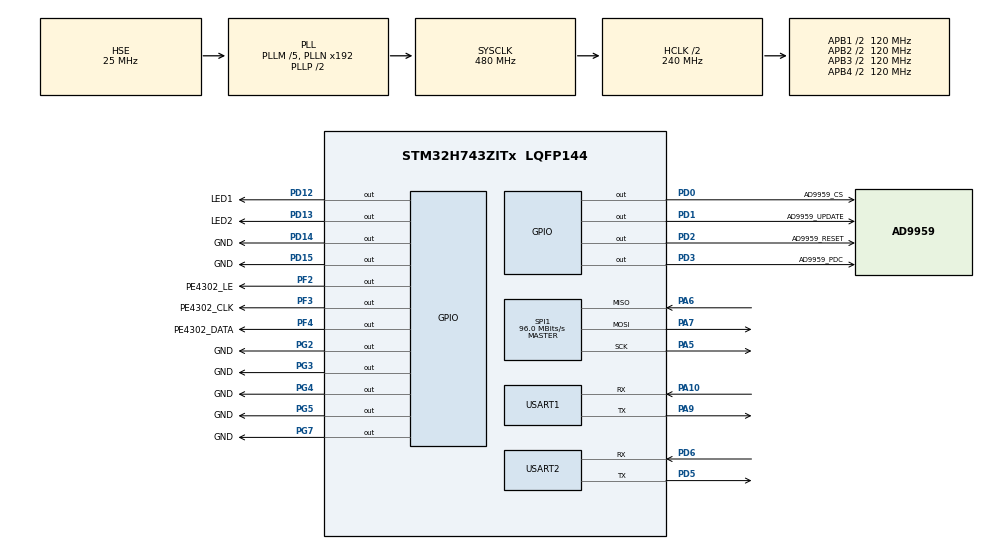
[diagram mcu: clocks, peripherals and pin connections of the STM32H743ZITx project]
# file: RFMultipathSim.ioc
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CORTEX_M7.default_mode_Activation=1
Mcu.Family=STM32H7
Mcu.Name=STM32H743ZITx
Mcu.Package=LQFP144
NVIC.PriorityGroup=NVIC_PRIORITYGROUP_4
PA10.Mode=Asynchronous
PA10.Signal=USART1_RX
PA13\ (JTMS/SWDIO).Mode=Serial_Wire
PA13\ (JTMS/SWDIO).Signal=DEBUG_JTMS-SWDIO
PA14\ (JTCK/SWCLK).Mode=Serial_Wire
PA14\ (JTCK/SWCLK).Signal=DEBUG_JTCK-SWCLK
PA5.GPIO_Speed=GPIO_SPEED_FREQ_HIGH
PA5.Mode=Full_Duplex_Master
PA5.Signal=SPI1_SCK
PA6.GPIO_Speed=GPIO_SPEED_FREQ_HIGH
PA6.Mode=Full_Duplex_Master
PA6.Signal=SPI1_MISO
PA7.GPIO_Speed=GPIO_SPEED_FREQ_HIGH
PA7.Mode=Full_Duplex_Master
PA7.Signal=SPI1_MOSI
PA9.Mode=Asynchronous
PA9.Signal=USART1_TX
PC14-OSC32_IN\ (OSC32_IN).Mode=LSE-External-Oscillator
PC14-OSC32_IN\ (OSC32_IN).Signal=RCC_OSC32_IN
PC15-OSC32_OUT\ (OSC32_OUT).Mode=LSE-External-Oscillator
PC15-OSC32_OUT\ (OSC32_OUT).Signal=RCC_OSC32_OUT
PD0.GPIO_Label=AD9959_CS
PD0.GPIO_OutputLevel=GPIO_PIN_SET
PD0.GPIO_PuPd=GPIO_PULLUP
PD0.GPIO_Speed=GPIO_SPEED_FREQ_HIGH
PD0.Signal=GPIO_Output
PD1.GPIO_Label=AD9959_UPDATE
PD1.GPIO_Speed=GPIO_SPEED_FREQ_HIGH
PD1.Signal=GPIO_Output
PD12.GPIO_Label=LED1
PD12.Signal=GPIO_Output
PD13.GPIO_Label=LED2
PD13.Signal=GPIO_Output
PD14.GPIO_Label=GND
PD14.GPIO_PuPd=GPIO_PULLDOWN
PD14.Signal=GPIO_Output
PD15.GPIO_Label=GND
PD15.GPIO_PuPd=GPIO_PULLDOWN
PD15.Signal=GPIO_Output
PD2.GPIO_Label=AD9959_RESET
PD2.GPIO_Speed=GPIO_SPEED_FREQ_HIGH
PD2.Signal=GPIO_Output
PD3.GPIO_Label=AD9959_PDC
PD3.GPIO_Speed=GPIO_SPEED_FREQ_HIGH
PD3.Signal=GPIO_Output
PD5.Mode=Asynchronous
PD5.Signal=USART2_TX
PD6.Mode=Asynchronous
PD6.Signal=USART2_RX
PF2.GPIO_Label=PE4302_LE
PF2.Signal=GPIO_Output
PF3.GPIO_Label=PE4302_CLK
PF3.Signal=GPIO_Output
PF4.GPIO_Label=PE4302_DATA
PF4.Signal=GPIO_Output
PG2.GPIO_Label=GND
PG2.GPIO_ModeDefaultOutputPP=GPIO_MODE_OUTPUT_PP
PG2.GPIO_PuPd=GPIO_PULLDOWN
PG2.GPIO_Speed=GPIO_SPEED_FREQ_LOW
PG2.PinState=GPIO_PIN_RESET
PG2.Signal=GPIO_Output
PG3.GPIO_Label=GND
PG3.GPIO_ModeDefaultOutputPP=GPIO_MODE_OUTPUT_PP
PG3.GPIO_PuPd=GPIO_PULLDOWN
PG3.GPIO_Speed=GPIO_SPEED_FREQ_LOW
PG3.PinState=GPIO_PIN_RESET
PG3.Signal=GPIO_Output
PG4.GPIO_Label=GND
PG4.GPIO_ModeDefaultOutputPP=GPIO_MODE_OUTPUT_PP
PG4.GPIO_PuPd=GPIO_PULLDOWN
PG4.GPIO_Speed=GPIO_SPEED_FREQ_LOW
PG4.PinState=GPIO_PIN_RESET
PG4.Signal=GPIO_Output
PG5.GPIO_Label=GND
PG5.GPIO_ModeDefaultOutputPP=GPIO_MODE_OUTPUT_PP
PG5.GPIO_PuPd=GPIO_PULLDOWN
PG5.GPIO_Speed=GPIO_SPEED_FREQ_LOW
PG5.PinState=GPIO_PIN_RESET
PG5.Signal=GPIO_Output
PG7.GPIO_Label=GND
PG7.GPIO_ModeDefaultOutputPP=GPIO_MODE_OUTPUT_PP
PG7.GPIO_PuPd=GPIO_PULLDOWN
PG7.GPIO_Speed=GPIO_SPEED_FREQ_LOW
PG7.PinState=GPIO_PIN_RESET
PG7.Signal=GPIO_Output
PH0-OSC_IN\ (PH0).Mode=HSE-External-Oscillator
PH0-OSC_IN\ (PH0).Signal=RCC_OSC_IN
PH1-OSC_OUT\ (PH1).Mode=HSE-External-Oscillator
PH1-OSC_OUT\ (PH1).Signal=RCC_OSC_OUT
ProjectManager.HeapSize=0x200
ProjectManager.StackSize=0x400
ProjectManager.TargetToolchain=CMake
RCC.ADCFreq_Value=14367816.09195402
RCC.APB1Freq_Value=120000000
RCC.APB2Freq_Value=120000000
RCC.APB3Freq_Value=120000000
RCC.APB4Freq_Value=120000000
RCC.CortexFreq_Value=480000000
RCC.D1PPRE=RCC_APB3_DIV2
RCC.D2PPRE1=RCC_APB1_DIV2
RCC.D2PPRE2=RCC_APB2_DIV2
RCC.D3PPRE=RCC_APB4_DIV2
RCC.DIVM1=5
RCC.DIVM2=6
RCC.DIVN1=192
RCC.DIVN2=200
RCC.DIVP2=58
RCC.DIVQ1=5
RCC.HCLKFreq_Value=240000000
RCC.HPRE=RCC_HCLK_DIV2
RCC.HSE_VALUE=25000000
RCC.PLL2FRACN=0
RCC.PLL3FRACN=0
RCC.PLLFRACN=0
RCC.PLLSourceVirtual=RCC_PLLSOURCE_HSE
RCC.SYSCLKFreq_VALUE=480000000
RCC.SYSCLKSource=RCC_SYSCLKSOURCE_PLLCLK
RCC.USBFreq_Value=192000000
SPI1.BaudRatePrescaler=SPI_BAUDRATEPRESCALER_2
SPI1.CalculateBaudRate=96.0 MBits/s
SPI1.DataSize=SPI_DATASIZE_8BIT
SPI1.Direction=SPI_DIRECTION_2LINES
SPI1.MasterKeepIOState=SPI_MASTER_KEEP_IO_STATE_ENABLE
SPI1.Mode=SPI_MODE_MASTER
SPI1.NSSPMode=SPI_NSS_PULSE_DISABLE
SPI1.VirtualType=VM_MASTER
USART1.VirtualMode-Asynchronous=VM_ASYNC
USART2.VirtualMode-Asynchronous=VM_ASYNC
VP_MEMORYMAP_VS_MEMORYMAP.Mode=CurAppReg
board=custom

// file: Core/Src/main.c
/* USER CODE BEGIN Header */
/**
  ******************************************************************************
  * @file           : main.c
  * @brief          : Main program body
  ******************************************************************************
  * @attention
  *
  * Copyright (c) 2026 STMicroelectronics.
  * All rights reserved.
  *
  * This software is licensed under terms that can be found in the LICENSE file
  * in the root directory of this software component.
  * If no LICENSE file comes with this software, it is provided AS-IS.
  *
  ******************************************************************************
  */
/* USER CODE END Header */
#include "main.h"
#include "spi.h"
#include "usart.h"
#include "gpio.h"

/* USER CODE BEGIN Includes */
#include "ad9959.h"
#include "dds_calibration.h"
#include "pe4302.h"
#include "serial_debug.h"
#include "tjcHMI.h"
#include <stdio.h>

/* USER CODE END Includes */

/* USER CODE BEGIN PD */
#define AD9959_REFERENCE_CLOCK_HZ   25000500U
#define AD9959_PLL_MULTIPLIER       19U
#define AD9959_TEST_FREQUENCY_HZ    35000000U
#define AD9959_STARTUP_RMS_MV       500U
#define TJC_HMI_STARTUP_DELAY_MS    10U
#define TJC_HMI_READ_TIMEOUT_MS     30U
#define TJC_HMI_READ_RETRY_COUNT    3U
//test 推送

/* USER CODE END PD */

/* USER CODE BEGIN PV */
static AD9959_Handler g_ad9959;
static PE4302_Handler g_pe4302;
static uint16_t g_direct_amplitude_code;
static TJC_HMI_Settings g_tjc_settings;

/* USER CODE END PV */

void SystemClock_Config(void);
static void MPU_Config(void);

/* USER CODE BEGIN 0 */
/**
  * @brief  Initializes the AD9959 and enables the CH0 test output.
  */
static void RFMultipathSim_AD9959_Init(void) {
    HAL_GPIO_WritePin(AD9959_PDC_GPIO_Port, AD9959_PDC_Pin, GPIO_PIN_RESET);
    HAL_Delay(50U);

    AD9959_Init(&g_ad9959, &hspi1, AD9959_CS_GPIO_Port, AD9959_CS_Pin, AD9959_RESET_GPIO_Port, AD9959_RESET_Pin, AD9959_UPDATE_GPIO_Port, AD9959_UPDATE_Pin,
                AD9959_REFERENCE_CLOCK_HZ, 0);

    if (AD9959_GetLastStatus(&g_ad9959) != HAL_OK) {
        Error_Handler();
    }

    AD9959_SetClock(&g_ad9959, AD9959_PLL_MULTIPLIER, 0);
    AD9959_Update(&g_ad9959);

    if (AD9959_GetLastStatus(&g_ad9959) != HAL_OK) {
        Error_Handler();
    }

    HAL_Delay(10U);

    AD9959_SetAmplitude(&g_ad9959, Channel_All, 0U);

    if (!DDS_Calibration_GetAmplitudeCode(AD9959_TEST_FREQUENCY_HZ, AD9959_STARTUP_RMS_MV, &g_direct_amplitude_code)) {
        Error_Handler();
    }

    AD9959_SetChannelFrequency(&g_ad9959, Channel_0, AD9959_TEST_FREQUENCY_HZ);
    AD9959_SetPhase(&g_ad9959, Channel_0, 0U);
    AD9959_SetAmplitude(&g_ad9959, Channel_0, g_direct_amplitude_code);

    AD9959_SetChannelFrequency(&g_ad9959, Channel_1, 2000000U);
    AD9959_SetPhase(&g_ad9959, Channel_1, 0U);
    AD9959_SetAmplitude(&g_ad9959, Channel_1, 0U);

    AD9959_SetChannelFrequency(&g_ad9959, Channel_2, 2000000U);
    AD9959_SetPhase(&g_ad9959, Channel_2, 0U);
    AD9959_SetAmplitude(&g_ad9959, Channel_2, 200);

    AD9959_SetChannelFrequency(&g_ad9959, Channel_3, AD9959_TEST_FREQUENCY_HZ);
    AD9959_SetPhase(&g_ad9959, Channel_3, 0U);
    AD9959_SetAmplitude(&g_ad9959, Channel_3, 1023U);

    AD9959_Update(&g_ad9959);

    if (AD9959_GetLastStatus(&g_ad9959) != HAL_OK) {
        Error_Handler();
    }
}

/* USER CODE END 0 */

int main(void) {

    /* MPU Configuration--------------------------------------------------------*/
    MPU_Config();

    /* MCU Configuration--------------------------------------------------------*/

    /* Reset of all peripherals, Initializes the Flash interface and the Systick. */
    HAL_Init();

    /* Configure the system clock */
    SystemClock_Config();

    /* Initialize all configured peripherals */
    MX_GPIO_Init();
    MX_SPI1_Init();
    MX_USART2_UART_Init();
    MX_USART1_UART_Init();
    /* USER CODE BEGIN 2 */
    RFMultipathSim_AD9959_Init();

    if (PE4302_Init(&g_pe4302, PE4302_LE_GPIO_Port, PE4302_LE_Pin, PE4302_CLK_GPIO_Port, PE4302_CLK_Pin, PE4302_DATA_GPIO_Port, PE4302_DATA_Pin) != HAL_OK) {
        Error_Handler();
    }
    PE4302_SetAttenuation(&g_pe4302, 6U);

    SerialDebug_Init(&huart1, &g_ad9959, AD9959_TEST_FREQUENCY_HZ, g_direct_amplitude_code, 0);

    if (tjcHMI_Init(&huart2) != HAL_OK) {
        Error_Handler();
    }

    HAL_Delay(TJC_HMI_STARTUP_DELAY_MS);

    HAL_StatusTypeDef tjc_status = HAL_ERROR;
    for (uint32_t attempt = 0U; attempt < TJC_HMI_READ_RETRY_COUNT; ++attempt) {
        tjc_status = tjcReadSettings(&g_tjc_settings, TJC_HMI_READ_TIMEOUT_MS);
        if (tjc_status == HAL_OK) {
            break;
        }
        HAL_Delay(10U);
    }

    if (tjc_status == HAL_OK) {
        const char* mode_name = (g_tjc_settings.mode == 0) ? "CW" : ((g_tjc_settings.mode == 1) ? "AM" : "UNKNOWN");
        printf("TJC SETTINGS MODE=%s(%ld) FC=%ldMHz AMP=%ldmV PHASE=%lddeg DELAY=%ldns ATT=%lddB MOD=%ld%%\r\n", mode_name, (long)g_tjc_settings.mode,
               (long)g_tjc_settings.carrier_frequency_mhz, (long)g_tjc_settings.carrier_amplitude_mv, (long)g_tjc_settings.initial_phase_degree,
               (long)g_tjc_settings.delay_ns, (long)g_tjc_settings.attenuation_db, (long)g_tjc_settings.modulation_percent);
    }
    else {
        printf("ERROR TJC SETTINGS READ STATUS=%d\r\n", (int)tjc_status);
    }

    /* USER CODE END 2 */

    /* Infinite loop */
    /* USER CODE BEGIN WHILE */
    while (1) {
        SerialDebug_Task();
        /* USER CODE END WHILE */

    }
}

void SystemClock_Config(void) {
    RCC_OscInitTypeDef RCC_OscInitStruct = {0};
    RCC_ClkInitTypeDef RCC_ClkInitStruct = {0};

    /** Supply configuration update enable
    */
    HAL_PWREx_ConfigSupply(PWR_LDO_SUPPLY);

    /** Configure the main internal regulator output voltage
    */
    __HAL_PWR_VOLTAGESCALING_CONFIG(PWR_REGULATOR_VOLTAGE_SCALE0);

    while (!__HAL_PWR_GET_FLAG(PWR_FLAG_VOSRDY)) {}

    /** Initializes the RCC Oscillators according to the specified parameters
    * in the RCC_OscInitTypeDef structure.
    */
    RCC_OscInitStruct.OscillatorType = RCC_OSCILLATORTYPE_HSE;
    RCC_OscInitStruct.HSEState = RCC_HSE_ON;
    RCC_OscInitStruct.PLL.PLLState = RCC_PLL_ON;
    RCC_OscInitStruct.PLL.PLLSource = RCC_PLLSOURCE_HSE;
    RCC_OscInitStruct.PLL.PLLM = 5;
    RCC_OscInitStruct.PLL.PLLN = 192;
    RCC_OscInitStruct.PLL.PLLP = 2;
    RCC_OscInitStruct.PLL.PLLQ = 5;
    RCC_OscInitStruct.PLL.PLLR = 2;
    RCC_OscInitStruct.PLL.PLLRGE = RCC_PLL1VCIRANGE_2;
    RCC_OscInitStruct.PLL.PLLVCOSEL = RCC_PLL1VCOWIDE;
    RCC_OscInitStruct.PLL.PLLFRACN = 0;
    if (HAL_RCC_OscConfig(&RCC_OscInitStruct) != HAL_OK) {
        Error_Handler();
    }

    /** Initializes the CPU, AHB and APB buses clocks
    */
    RCC_ClkInitStruct.ClockType = RCC_CLOCKTYPE_HCLK | RCC_CLOCKTYPE_SYSCLK | RCC_CLOCKTYPE_PCLK1 | RCC_CLOCKTYPE_PCLK2 | RCC_CLOCKTYPE_D3PCLK1 |
        RCC_CLOCKTYPE_D1PCLK1;
    RCC_ClkInitStruct.SYSCLKSource = RCC_SYSCLKSOURCE_PLLCLK;
    RCC_ClkInitStruct.SYSCLKDivider = RCC_SYSCLK_DIV1;
    RCC_ClkInitStruct.AHBCLKDivider = RCC_HCLK_DIV2;
    RCC_ClkInitStruct.APB3CLKDivider = RCC_APB3_DIV2;
    RCC_ClkInitStruct.APB1CLKDivider = RCC_APB1_DIV2;
    RCC_ClkInitStruct.APB2CLKDivider = RCC_APB2_DIV2;
    RCC_ClkInitStruct.APB4CLKDivider = RCC_APB4_DIV2;

    if (HAL_RCC_ClockConfig(&RCC_ClkInitStruct, FLASH_LATENCY_4) != HAL_OK) {
        Error_Handler();
    }
}

/* MPU Configuration */

void MPU_Config(void) {
    MPU_Region_InitTypeDef MPU_InitStruct = {0};

    /* Disables the MPU */
    HAL_MPU_Disable();

    /** Initializes and configures the Region and the memory to be protected
    */
    MPU_InitStruct.Enable = MPU_REGION_ENABLE;
    MPU_InitStruct.Number = MPU_REGION_NUMBER0;
    MPU_InitStruct.BaseAddress = 0x0;
    MPU_InitStruct.Size = MPU_REGION_SIZE_4GB;
    MPU_InitStruct.SubRegionDisable = 0x87;
    MPU_InitStruct.TypeExtField = MPU_TEX_LEVEL0;
    MPU_InitStruct.AccessPermission = MPU_REGION_NO_ACCESS;
    MPU_InitStruct.DisableExec = MPU_INSTRUCTION_ACCESS_DISABLE;
    MPU_InitStruct.IsShareable = MPU_ACCESS_SHAREABLE;
    MPU_InitStruct.IsCacheable = MPU_ACCESS_NOT_CACHEABLE;
    MPU_InitStruct.IsBufferable = MPU_ACCESS_NOT_BUFFERABLE;

    HAL_MPU_ConfigRegion(&MPU_InitStruct);
    /* Enables the MPU */
    HAL_MPU_Enable(MPU_PRIVILEGED_DEFAULT);
}

void Error_Handler(void) {
    __disable_irq();
    while (1) {}
}
